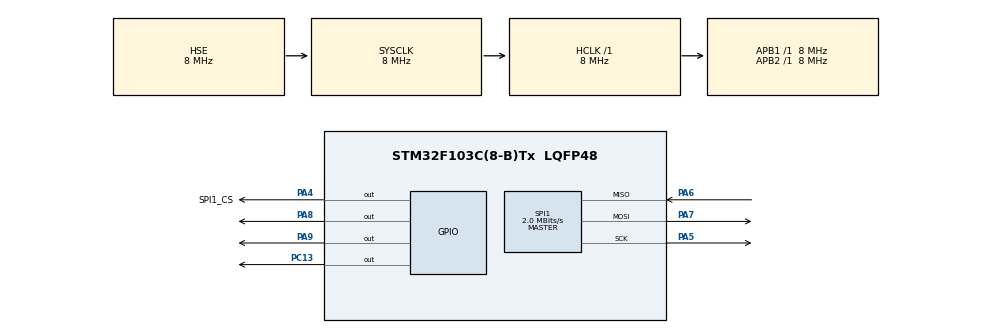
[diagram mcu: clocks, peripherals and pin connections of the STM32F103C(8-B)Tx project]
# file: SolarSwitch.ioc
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Mcu.Family=STM32F1
Mcu.Name=STM32F103C(8-B)Tx
Mcu.Package=LQFP48
NVIC.PriorityGroup=NVIC_PRIORITYGROUP_4
NVIC.SPI1_IRQn=true\:0\:0\:false\:false\:true\:true\:true
PA13.Mode=Serial_Wire
PA13.Signal=SYS_JTMS-SWDIO
PA14.Mode=Serial_Wire
PA14.Signal=SYS_JTCK-SWCLK
PA4.GPIO_Label=SPI1_CS
PA4.Signal=GPIO_Output
PA5.Mode=Full_Duplex_Master
PA5.Signal=SPI1_SCK
PA6.Mode=Full_Duplex_Master
PA6.Signal=SPI1_MISO
PA7.Mode=Full_Duplex_Master
PA7.Signal=SPI1_MOSI
PA8.Signal=GPIO_Output
PA9.Signal=GPIO_Output
PC13-TAMPER-RTC.Signal=GPIO_Output
PD0-OSC_IN.Mode=HSE-External-Oscillator
PD0-OSC_IN.Signal=RCC_OSC_IN
PD1-OSC_OUT.Mode=HSE-External-Oscillator
PD1-OSC_OUT.Signal=RCC_OSC_OUT
ProjectManager.HeapSize=0x200
ProjectManager.StackSize=0x400
ProjectManager.TargetToolchain=MDK-ARM V5.32
RCC.AHBFreq_Value=8000000
RCC.APB1Freq_Value=8000000
RCC.APB1TimFreq_Value=8000000
RCC.APB2Freq_Value=8000000
RCC.APB2TimFreq_Value=8000000
RCC.HCLKFreq_Value=8000000
RCC.PLLSourceVirtual=RCC_PLLSOURCE_HSE
RCC.SYSCLKFreq_VALUE=8000000
RCC.SYSCLKSource=RCC_SYSCLKSOURCE_HSE
RCC.USBFreq_Value=16000000
SPI1.BaudRatePrescaler=SPI_BAUDRATEPRESCALER_4
SPI1.CLKPhase=SPI_PHASE_2EDGE
SPI1.CalculateBaudRate=2.0 MBits/s
SPI1.Direction=SPI_DIRECTION_2LINES
SPI1.Mode=SPI_MODE_MASTER
SPI1.VirtualType=VM_MASTER
board=custom

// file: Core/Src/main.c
/* USER CODE BEGIN Header */
/**
  ******************************************************************************
  * @file           : main.c
  * @brief          : Main program body
  ******************************************************************************
  * @attention
  *
  * Copyright (c) 2023 STMicroelectronics.
  * All rights reserved.
  *
  * This software is licensed under terms that can be found in the LICENSE file
  * in the root directory of this software component.
  * If no LICENSE file comes with this software, it is provided AS-IS.
  *
  ******************************************************************************
  */
/* USER CODE END Header */
#include "main.h"
#include "spi.h"
#include "gpio.h"

void SystemClock_Config(void);

int main(void)
{
  /* USER CODE BEGIN 1 */
  float INA_Voltage_mV;
  uint8_t switchFlag = 1;
  /* USER CODE END 1 */

  /* MCU Configuration--------------------------------------------------------*/

  /* Reset of all peripherals, Initializes the Flash interface and the Systick. */
  HAL_Init();

  /* Configure the system clock */
  SystemClock_Config();

  /* Initialize all configured peripherals */
  MX_GPIO_Init();
  MX_SPI1_Init();
  /* USER CODE BEGIN 2 */
  INA_CS_1();
  INA_INIT();
  HAL_GPIO_WritePin(GPIOC, GPIO_PIN_13, GPIO_PIN_SET);
  /* USER CODE END 2 */

  /* Infinite loop */
  /* USER CODE BEGIN WHILE */
  while (1)
  {
    INA_Voltage_mV = ina239_ReadVoltage();
    if (((int)INA_Voltage_mV > 13000) && (switchFlag == 0))
    {
      HAL_GPIO_WritePin(GPIOA, GPIO_PIN_9, GPIO_PIN_RESET);
      HAL_Delay(100);
      HAL_GPIO_WritePin(GPIOA, GPIO_PIN_8, GPIO_PIN_SET);
      switchFlag = 1;
      HAL_GPIO_WritePin(GPIOC, GPIO_PIN_13, GPIO_PIN_RESET);
    }
    if (((int)INA_Voltage_mV < 10000) && (switchFlag == 1))
    {
      HAL_GPIO_WritePin(GPIOA, GPIO_PIN_8, GPIO_PIN_RESET);
      HAL_Delay(100);
      HAL_GPIO_WritePin(GPIOA, GPIO_PIN_9, GPIO_PIN_SET);
      switchFlag = 0;
      HAL_GPIO_WritePin(GPIOC, GPIO_PIN_13, GPIO_PIN_SET);
      //HAL_GPIO_TogglePin(GPIOC, GPIO_PIN_13);
    }

    HAL_Delay(1000);
    /* USER CODE END WHILE */

  }
}

void SystemClock_Config(void)
{
  RCC_OscInitTypeDef RCC_OscInitStruct = {0};
  RCC_ClkInitTypeDef RCC_ClkInitStruct = {0};

  /** Initializes the RCC Oscillators according to the specified parameters
  * in the RCC_OscInitTypeDef structure.
  */
  RCC_OscInitStruct.OscillatorType = RCC_OSCILLATORTYPE_HSE;
  RCC_OscInitStruct.HSEState = RCC_HSE_ON;
  RCC_OscInitStruct.PLL.PLLState = RCC_PLL_NONE;
  if (HAL_RCC_OscConfig(&RCC_OscInitStruct) != HAL_OK)
  {
    Error_Handler();
  }
  /** Initializes the CPU, AHB and APB buses clocks
  */
  RCC_ClkInitStruct.ClockType = RCC_CLOCKTYPE_HCLK|RCC_CLOCKTYPE_SYSCLK
                              |RCC_CLOCKTYPE_PCLK1|RCC_CLOCKTYPE_PCLK2;
  RCC_ClkInitStruct.SYSCLKSource = RCC_SYSCLKSOURCE_HSE;
  RCC_ClkInitStruct.AHBCLKDivider = RCC_SYSCLK_DIV1;
  RCC_ClkInitStruct.APB1CLKDivider = RCC_HCLK_DIV1;
  RCC_ClkInitStruct.APB2CLKDivider = RCC_HCLK_DIV1;

  if (HAL_RCC_ClockConfig(&RCC_ClkInitStruct, FLASH_LATENCY_0) != HAL_OK)
  {
    Error_Handler();
  }
}

void Error_Handler(void)
{
  __disable_irq();
  while (1)
  {
  }
}
